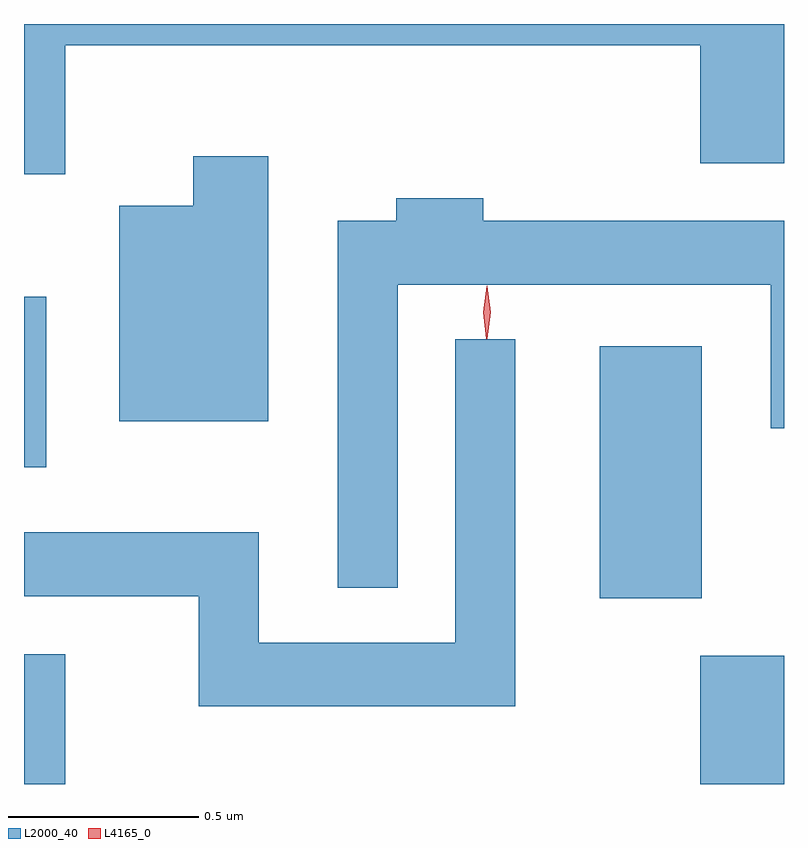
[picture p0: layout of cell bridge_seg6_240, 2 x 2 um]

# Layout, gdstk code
import gdstk
lib = gdstk.Library(unit=1e-6, precision=1e-09)
def R(c, l, rs):  # rectangles x0, y0, x1, y1
    for r in rs: c.add(gdstk.rectangle(r[:2], r[2:], *l))
def P(c, l, *ps):  # polygons
    for p in ps: c.add(gdstk.Polygon(p, *l))
L2000_40 = (2000, 40)
L4165_0 = (4165, 0)

bridge_seg6_240 = lib.new_cell('bridge_seg6_240')
R(bridge_seg6_240, L2000_40, [(1126.531,1563.632,1126.639,1563.974), (1128.311,1563.632,1128.531,1563.969), (1128.046,1564.121,1128.314,1564.784), (1126.531,1564.466,1126.589,1564.914)])
P(bridge_seg6_240, L2000_40, [(1126.639,1565.576),(1128.311,1565.576),(1128.311,1565.266),(1128.531,1565.266),(1128.531,1565.632),(1126.531,1565.632),(1126.531,1565.236),(1126.639,1565.236)],
  [(1127.174,1565.284),(1126.976,1565.284),(1126.976,1565.154),(1126.781,1565.154),(1126.781,1564.586),(1127.174,1564.586)],
  [(1127.514,1564.946),(1128.496,1564.946),(1128.496,1564.568),(1128.531,1564.568),(1128.531,1565.114),(1127.739,1565.114),(1127.739,1565.174),(1127.511,1565.174),(1127.511,1565.114),(1127.356,1565.114),(1127.356,1564.148),(1127.514,1564.148)],
  [(1127.824,1564.803),(1127.666,1564.803),(1127.666,1564.004),(1127.149,1564.004),(1127.149,1564.294),(1126.531,1564.294),(1126.531,1564.126),(1126.991,1564.126),(1126.991,1563.836),(1127.824,1563.836)])
P(bridge_seg6_240, L4165_0, [(1127.749,1564.803),(1127.748,1564.804),(1127.74,1564.873),(1127.749,1564.942),(1127.75,1564.943),(1127.75,1564.942),(1127.759,1564.873),(1127.75,1564.804)])

lib.write_gds('bridge_seg6_240.gds')
